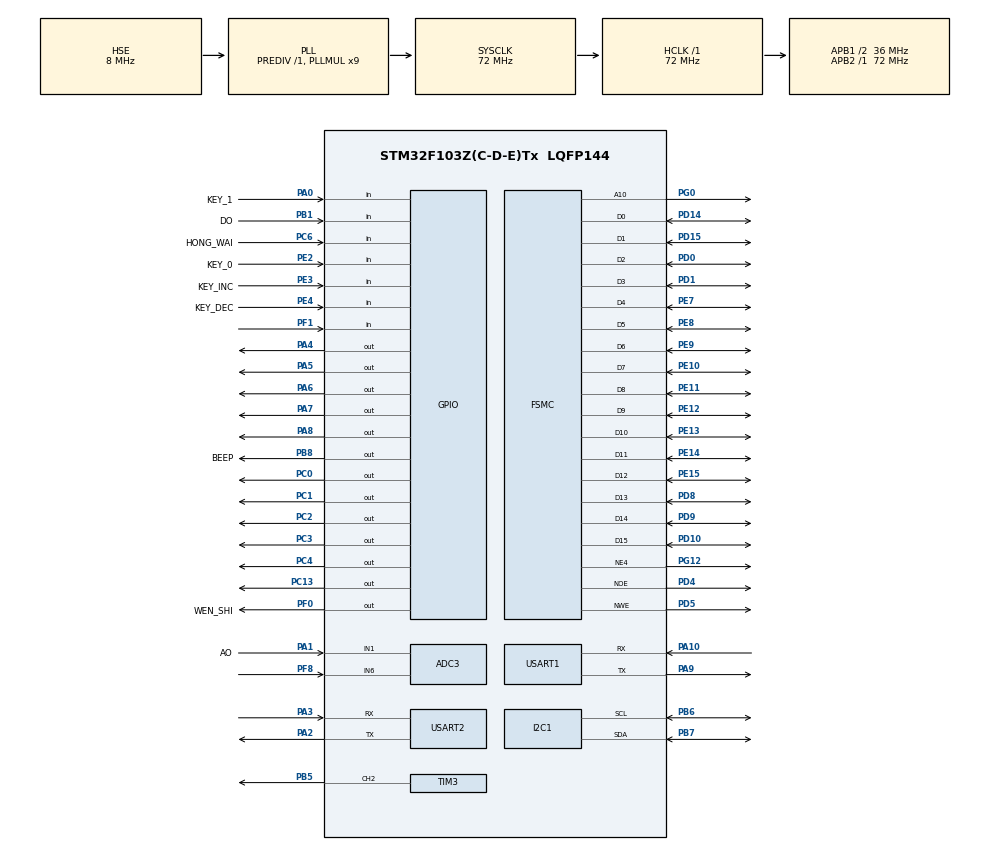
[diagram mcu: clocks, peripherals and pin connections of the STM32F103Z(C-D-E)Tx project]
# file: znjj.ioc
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ADC3.Channel-0\#ChannelRegularConversion=ADC_CHANNEL_6
ADC3.NbrOfConversionFlag=1
ADC3.Rank-0\#ChannelRegularConversion=1
ADC3.SamplingTime-0\#ChannelRegularConversion=ADC_SAMPLETIME_1CYCLE_5
FSMC.AddressSetupTime1=0x01
FSMC.BusTurnAroundDuration1=0
FSMC.DataSetupTime1=0x0f
FSMC.ExtendedAddressSetupTime1=0x0f
FSMC.ExtendedBusTurnAroundDuration1=0
FSMC.ExtendedDataSetupTime1=0x05
FSMC.ExtendedMode1=FSMC_EXTENDED_MODE_ENABLE
Mcu.Family=STM32F1
Mcu.Name=STM32F103Z(C-D-E)Tx
Mcu.Package=LQFP144
NVIC.PriorityGroup=NVIC_PRIORITYGROUP_4
NVIC.USART1_IRQn=true\:0\:0\:false\:false\:true\:true\:true
NVIC.USART2_IRQn=true\:0\:0\:false\:false\:true\:true\:true
OSC_IN.Mode=HSE-External-Oscillator
OSC_IN.Signal=RCC_OSC_IN
OSC_OUT.Mode=HSE-External-Oscillator
OSC_OUT.Signal=RCC_OSC_OUT
PA0-WKUP.GPIO_Label=KEY_1
PA0-WKUP.GPIO_PuPd=GPIO_PULLDOWN
PA0-WKUP.Signal=GPIO_Input
PA1.GPIO_Label=AO
PA1.Signal=SharedAnalog_PA1
PA10.Mode=Asynchronous
PA10.Signal=USART1_RX
PA13.Mode=Serial_Wire
PA13.Signal=SYS_JTMS-SWDIO
PA14.Mode=Serial_Wire
PA14.Signal=SYS_JTCK-SWCLK
PA2.Mode=Asynchronous
PA2.Signal=USART2_TX
PA3.Mode=Asynchronous
PA3.Signal=USART2_RX
PA4.Signal=GPIO_Output
PA5.Signal=GPIO_Output
PA6.Signal=GPIO_Output
PA7.Signal=GPIO_Output
PA8.Signal=GPIO_Output
PA9.Mode=Asynchronous
PA9.Signal=USART1_TX
PB1.GPIO_Label=DO
PB1.GPIO_PuPd=GPIO_PULLUP
PB1.Signal=GPIO_Input
PB5.Signal=S_TIM3_CH2
PB6.Mode=I2C
PB6.Signal=I2C1_SCL
PB7.Mode=I2C
PB7.Signal=I2C1_SDA
PB8.GPIO_Label=BEEP
PB8.Signal=GPIO_Output
PC0.Signal=GPIO_Output
PC1.Signal=GPIO_Output
PC13-TAMPER-RTC.PinState=GPIO_PIN_RESET
PC13-TAMPER-RTC.Signal=GPIO_Output
PC14-OSC32_IN.Mode=LSE-External-Oscillator
PC14-OSC32_IN.Signal=RCC_OSC32_IN
PC15-OSC32_OUT.Mode=LSE-External-Oscillator
PC15-OSC32_OUT.Signal=RCC_OSC32_OUT
PC2.Signal=GPIO_Output
PC3.Signal=GPIO_Output
PC4.Signal=GPIO_Output
PC6.GPIO_Label=HONG_WAI
PC6.GPIO_PuPd=GPIO_PULLUP
PC6.Signal=GPIO_Input
PD0.Signal=FSMC_D2_DA2
PD1.Signal=FSMC_D3_DA3
PD10.Signal=FSMC_D15_DA15
PD14.Signal=FSMC_D0_DA0
PD15.Signal=FSMC_D1_DA1
PD4.Signal=FSMC_NOE
PD5.Signal=FSMC_NWE
PD8.Signal=FSMC_D13_DA13
PD9.Signal=FSMC_D14_DA14
PE10.Signal=FSMC_D7_DA7
PE11.Signal=FSMC_D8_DA8
PE12.Signal=FSMC_D9_DA9
PE13.Signal=FSMC_D10_DA10
PE14.Signal=FSMC_D11_DA11
PE15.Signal=FSMC_D12_DA12
PE2.GPIO_Label=KEY_0
PE2.GPIO_PuPd=GPIO_PULLUP
PE2.Signal=GPIO_Input
PE3.GPIO_Label=KEY_INC
PE3.GPIO_PuPd=GPIO_PULLUP
PE3.Signal=GPIO_Input
PE4.GPIO_Label=KEY_DEC
PE4.GPIO_PuPd=GPIO_PULLUP
PE4.Signal=GPIO_Input
PE7.Signal=FSMC_D4_DA4
PE8.Signal=FSMC_D5_DA5
PE9.Signal=FSMC_D6_DA6
PF0.GPIO_Label=WEN_SHI
PF0.Signal=GPIO_Output
PF1.Signal=GPIO_Input
PF8.Mode=IN6
PF8.Signal=ADC3_IN6
PG0.Signal=FSMC_A10
PG12.Mode=NorPsramChipSelect4_1
PG12.Signal=FSMC_NE4
ProjectManager.HeapSize=0x200
ProjectManager.StackSize=0x400
ProjectManager.TargetToolchain=MDK-ARM V5
RCC.ADCPresc=RCC_ADCPCLK2_DIV6
RCC.AHBFreq_Value=72000000
RCC.APB1CLKDivider=RCC_HCLK_DIV2
RCC.APB1Freq_Value=36000000
RCC.APB1TimFreq_Value=72000000
RCC.APB2Freq_Value=72000000
RCC.APB2TimFreq_Value=72000000
RCC.HCLKFreq_Value=72000000
RCC.PLLMUL=RCC_PLL_MUL9
RCC.PLLSourceVirtual=RCC_PLLSOURCE_HSE
RCC.RTCClockSelection=RCC_RTCCLKSOURCE_LSE
RCC.SYSCLKFreq_VALUE=72000000
RCC.SYSCLKSource=RCC_SYSCLKSOURCE_PLLCLK
RCC.USBFreq_Value=72000000
SH.FSMC_A10.0=FSMC_A10,A10_1
SH.FSMC_D0_DA0.0=FSMC_D0,16b-d1
SH.FSMC_D10_DA10.0=FSMC_D10,16b-d1
SH.FSMC_D11_DA11.0=FSMC_D11,16b-d1
SH.FSMC_D12_DA12.0=FSMC_D12,16b-d1
SH.FSMC_D13_DA13.0=FSMC_D13,16b-d1
SH.FSMC_D14_DA14.0=FSMC_D14,16b-d1
SH.FSMC_D15_DA15.0=FSMC_D15,16b-d1
SH.FSMC_D1_DA1.0=FSMC_D1,16b-d1
SH.FSMC_D2_DA2.0=FSMC_D2,16b-d1
SH.FSMC_D3_DA3.0=FSMC_D3,16b-d1
SH.FSMC_D4_DA4.0=FSMC_D4,16b-d1
SH.FSMC_D5_DA5.0=FSMC_D5,16b-d1
SH.FSMC_D6_DA6.0=FSMC_D6,16b-d1
SH.FSMC_D7_DA7.0=FSMC_D7,16b-d1
SH.FSMC_D8_DA8.0=FSMC_D8,16b-d1
SH.FSMC_D9_DA9.0=FSMC_D9,16b-d1
SH.FSMC_NOE.0=FSMC_NOE,Lcd1
SH.FSMC_NWE.0=FSMC_NWE,Lcd1
SH.S_TIM3_CH2.0=TIM3_CH2,PWM Generation2 CH2
SH.SharedAnalog_PA1.0=GPIO_Analog
SH.SharedAnalog_PA1.1=ADC3_IN1,IN1
TIM3.Channel-PWM\ Generation2\ CH2=TIM_CHANNEL_2
TIM3.Period=1000-1
TIM3.Prescaler=72-1
TIM5.Period=65535
TIM5.Prescaler=72
USART1.VirtualMode=VM_ASYNC
USART2.VirtualMode=VM_ASYNC
VP_RTC_VS_RTC_Activate.Mode=RTC_Enabled
VP_RTC_VS_RTC_Calendar.Mode=RTC_Calendar
VP_TIM3_VS_ClockSourceINT.Mode=Internal
VP_TIM5_VS_ClockSourceINT.Mode=Internal
board=custom

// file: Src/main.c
/* USER CODE BEGIN Header */
/**
  ******************************************************************************
  * @file           : main.c
  * @brief          : Main program body
  ******************************************************************************
  * @attention
  *
  * <h2><center>&copy; Copyright (c) 2025 STMicroelectronics.
  * All rights reserved.</center></h2>
  *
  * This software component is licensed by ST under BSD 3-Clause license,
  * the "License"; You may not use this file except in compliance with the
  * License. You may obtain a copy of the License at:
  *                        opensource.org/licenses/BSD-3-Clause
  *
  ******************************************************************************
  */
/* USER CODE END Header */

#include "main.h"
#include "adc.h"
#include "i2c.h"
#include "rtc.h"
#include "tim.h"
#include "usart.h"
#include "gpio.h"
#include "fsmc.h"

/* USER CODE BEGIN Includes */
#include <stdio.h>
#include "tftlcd.h"
#include <string.h>
#include "OLED_Function.h"
#include "DHT11.h"
#include "step_motor.h"
#include "My_esp8266.h"
/**
  * @brief  重定向printf函数到串口1
  * @param  ch: 要发送的字符
  * @param  f: 文件指针（未使用）
  * @retval 发送的字符
  */
int fputc(int ch, FILE *f)
{
    HAL_UART_Transmit(&huart1, (uint8_t *)&ch, 1, 0xFFFF);
    return ch;
}

/* USER CODE END Includes */

/* USER CODE BEGIN PD */

// 密码相关定义
#define PASSWORD_LEN 4                 // 密码长度：4位二进制
#define CORRECT_PASSWORD 0x0A          // 正确密码：二进制1010（十六进制0x0A）

// 按键定义 - 根据CubeMX配置
#define KEY_NEXT_PIN      GPIO_PIN_3    // PE3 (KEY_INC) - 选择下一个灯
#define KEY_PREV_PIN      GPIO_PIN_2    // PE2 (KEY_0) - 选择上一个灯
#define KEY_TOGGLE_PIN    GPIO_PIN_4    // PE4 (KEY_DEC) - 开关灯
#define KEY_UP_PIN        GPIO_PIN_0    // PA0 (KEY_UP) - 输入1
#define KEY_CANCEL_PIN    GPIO_PIN_2// PE2 (KEY_0) - 输入0/取消
#define KEY_MODE_PIN      GPIO_PIN_1    // PF1 - 模式切换
#define LIGHT_COUNT 4                  // 灯光数量

// 火焰传感器定义
#define FLAME_SENSOR_PIN      GPIO_PIN_1     // PA1 - 火焰传感器引脚（高电平表示有火焰）
#define FLAME_SENSOR_PORT     GPIOA
#define FLAME_ALARM_PIN       GPIO_PIN_8     // 报警引脚：PB8
#define FLAME_CHECK_INTERVAL  100            // 火焰检查间隔：100ms

// 加湿器控制阈值
#define HUMIDITY_HIGH_THRESHOLD  60   // 高湿度阈值(60%) - 关闭加湿器
#define HUMIDITY_OFF_THRESHOLD   55   // 关闭阈值(55-60%之间停止)

// 湿度控制等级(4个等级)
#define HUMIDITY_LEVEL_0         55   // 等级0: 55-60% (保持当前状态)
#define HUMIDITY_LEVEL_1         50   // 等级1: 50-55% (低速加湿)
#define HUMIDITY_LEVEL_2         40   // 等级2: 40-50% (中速加湿)
#define HUMIDITY_LEVEL_3         30   // 等级3: <40% (高速加湿)

// 步进电机速度等级(延迟时间，单位ms)
#define MOTOR_SPEED_LEVEL_0      0     // 停止
#define MOTOR_SPEED_LEVEL_1      300   // 低速 (50-55%)
#define MOTOR_SPEED_LEVEL_2      150   // 中速 (40-50%)
#define MOTOR_SPEED_LEVEL_3      80    // 高速 (<40%)

// 步进电机速度定义(ms延迟)
#define STEPPER_SPEED_OFF        0     // 停止
#define STEPPER_SPEED_LOW        300   // 低速
#define STEPPER_SPEED_MEDIUM     150   // 中速
#define STEPPER_SPEED_HIGH       80    // 高速

// 加湿器状态
#define HUMIDIFIER_STATE_OFF     0      // 加湿器关闭
#define HUMIDIFIER_STATE_ON      1      // 加湿器开启

/* USER CODE END PD */

/* USER CODE BEGIN PV */
#define RXBUFFERSIZE  256     //最大接收字节数
char RxBuffer[RXBUFFERSIZE];   //接收数据
uint8_t aRxBuffer;			//接收中断缓冲
uint8_t Uart2_Rx_Cnt = 0;		//接收缓冲计数
uint8_t my_test_v = 0 ;
char my_order[15]={0};
char receive_flag=0;

// 系统模式枚举
typedef enum {
    MODE_TEMP_HUMIDITY = 0,  // 温湿度显示模式
    MODE_PASSWORD = 1,       // 密码输入模式
    MODE_LIGHT_CONTROL = 2   // 灯光控制模式
} SystemMode;

static SystemMode current_mode = MODE_TEMP_HUMIDITY; // 当前模式

// 密码相关变量
static uint8_t input_buffer[PASSWORD_LEN] = {0};  // 输入缓冲区
static uint8_t input_index = 0;                   // 输入位索引
static uint8_t error_count = 0;                   // 错误次数

// 报警相关变量
static uint8_t alarm_active = 0;                  // 报警激活标志
static uint32_t alarm_start_time = 0;             // 报警开始时间
const uint32_t ALARM_DURATION = 2000;             // 报警持续时间：2秒

// DHT11相关变量
static DHT11_Data_TypeDef dht11_data = {0};       // DHT11数据
static uint32_t last_dht11_time = 0;              // 上次DHT11读取时间
const uint32_t DHT11_UPDATE_INTERVAL = 2000;      // DHT11更新间隔：2秒

// 灯光控制相关变量
// 灯光名称
const char* light_names[LIGHT_COUNT] = {
    "Toilet",    // PA2 - 厕所
    "Bedroom",   // PA4 - 卧室
    "Kitchen",   // PA5 - 厨房
    "Study"      // PA6 - 书房
};

// 灯光引脚
const uint16_t light_pins[LIGHT_COUNT] = {
    GPIO_PIN_7,  // PA7 - 厕所
    GPIO_PIN_4,  // PA4 - 卧室
    GPIO_PIN_5,  // PA5 - 厨房
    GPIO_PIN_6   // PA6 - 书房
};

// 灯光状态，0:关，1:开
static uint8_t light_states[LIGHT_COUNT] = {0};
// 当前选中的灯光索引（用于灯光控制模式）
static uint8_t current_light_index = 0;  // 默认选中第一个灯

// LCD显示缓存（用于检测显示是否需要更新）
static uint8_t last_light_states[LIGHT_COUNT] = {0xFF};  // 初始化为无效值
static uint8_t last_light_index = 0xFF;
static char last_temp_display[30] = "";
static char last_humi_display[30] = "";

// 火焰传感器相关变量
static uint8_t flame_detected = 0;                 // 火焰检测标志 0:无，1:有
static uint32_t flame_last_check_time = 0;         // 上次火焰检查时间
static char last_flame_display[60] = "";          // 上次火焰信息显示

// 加湿器控制相关变量
static uint8_t humidifier_state = HUMIDIFIER_STATE_OFF;     // 加湿器状态
static uint8_t last_humidifier_state = HUMIDIFIER_STATE_OFF;// 上次加湿器状态
static uint8_t humidity_level = 0;                         // 当前湿度等级(0-3)
static uint8_t last_humidity_level = 0xFF;                 // 上次湿度等级
static uint8_t motor_direction = 0;                        // 电机方向：0=正转(开启)，1=反转(关闭)
static uint32_t humidifier_last_update = 0;                // 上次湿度控制更新时间
static char last_humidifier_display[80] = "";              // 上次加湿器显示

// 步进电机控制变量
static uint8_t motor_running = 0;                      // 电机运行标志:0=停止，1=运行
static uint32_t motor_last_step_time = 0;              // 上次步进时间
static uint32_t motor_current_delay = STEPPER_SPEED_OFF; // 当前步进延迟(ms)
static uint32_t motor_run_interval = 0;                // 电机运行间隔
static uint8_t motor_is_opening = 0;                   // 正在开启加湿器标志
static uint8_t motor_is_closing = 0;                   // 正在关闭加湿器标志
static uint32_t motor_target_steps = 0;                // 目标步数
static uint32_t motor_current_steps = 0;               // 当前已走步数

// 按键防抖相关变量
static uint32_t pf1_last_time = 0;
static uint32_t key_prev_last_time = 0;
static uint32_t key_next_last_time = 0;
static uint32_t key_toggle_last_time = 0;
static uint32_t key_up_last_time = 0;

// KEY2长按检测相关变量
static uint32_t key_cancel_press_start = 0;
static uint8_t key_cancel_long_press_handled = 0;

// 系统就绪标志
static uint8_t system_ready = 0;

/* USER CODE END PV */

void SystemClock_Config(void);
/* USER CODE BEGIN PFP */

// 显示函数
void show_temperature_humidity_mode(void);
void show_password_mode(void);
void show_light_control_mode(void);
void update_password_display(void);
void update_lcd_temperature_display(uint16_t x, uint16_t y);
void update_lcd_humidity_display(uint16_t x, uint16_t y);
void update_light_control_display(void);
void update_selected_light_display(void);
void update_light_status_display(uint8_t index);
void update_arrow_indicator(void);
uint8_t read_dht11_data(void);
void toggle_current_light(void);
void set_light_state(uint8_t index, uint8_t state);
void select_next_light(void);
void select_prev_light(void);
void switch_mode(void);
uint8_t is_key_pressed(GPIO_TypeDef* GPIOx, uint16_t GPIO_Pin, uint8_t active_level);

// 火焰传感器功能函数
void check_flame_sensor(void);
void update_flame_info(void);
void trigger_flame_alarm(void);
void stop_flame_alarm(void);

// 湿度控制功能函数
void init_humidity_control(void);
void update_humidity_control(void);
void control_humidifier_by_humidity(void);
uint8_t calculate_humidity_level(int16_t humidity_int, int16_t humidity_dec);
void set_humidifier_state(uint8_t state);
void start_humidifier_opening(void);
void start_humidifier_closing(void);
void run_stepper_motor_by_humidity(void);
void update_humidifier_display(void);
void display_humidity_control_info(uint16_t x, uint16_t y);
uint32_t get_motor_delay_by_level(uint8_t level);

/* USER CODE END PFP */

/* USER CODE BEGIN 0 */

/**
  * @brief  检查火焰传感器状态
  * @note   读取PA1引脚状态，检测到火焰时触发报警
  */
void check_flame_sensor(void)
{
    uint32_t current_time = HAL_GetTick();

    // 定时检查，避免频繁读取
    if (current_time - flame_last_check_time < FLAME_CHECK_INTERVAL) {
        return;
    }
    flame_last_check_time = current_time;

    // 读取火焰传感器状态 - 高电平表示有火焰
    uint8_t flame_state = HAL_GPIO_ReadPin(FLAME_SENSOR_PORT, FLAME_SENSOR_PIN);

    // 保存之前的检测状态，用于LCD更新检测
    uint8_t previous_detection = flame_detected;

    // 逻辑判断：高电平表示检测到火焰（参考您提供的简单main文件）
    if (flame_state == GPIO_PIN_SET) { // 高电平 = 检测到火焰
        if (!flame_detected) {
            printf("检测到火焰! (PA1=高电平)\r\n");
            trigger_flame_alarm();  // 触发报警
        }
        flame_detected = 1;
    } else {
        if (flame_detected) {
            printf("火焰消失 (PA1=低电平)\r\n");
        }
        flame_detected = 0;
    }

    // 更新LCD显示（仅当模式为温湿度显示模式且有状态变化时）
    if (current_mode == MODE_TEMP_HUMIDITY && previous_detection != flame_detected) {
        update_flame_info();
    }
}

/**
  * @brief  触发火焰报警
  * @note   激活PB8报警引脚
  */
void trigger_flame_alarm(void)
{
    // 设置PB8为高电平（蜂鸣器/LED）
    HAL_GPIO_WritePin(GPIOB, FLAME_ALARM_PIN, GPIO_PIN_SET);

    printf("火焰报警激活! (PB8=高电平)\r\n");

    // 更新LCD显示
    if (current_mode == MODE_TEMP_HUMIDITY) {
        update_flame_info();
    }
}

/**
  * @brief  停止火焰报警
  * @note   关闭PB8报警引脚
  */
void stop_flame_alarm(void)
{
    // 设置PB8为低电平
    HAL_GPIO_WritePin(GPIOB, FLAME_ALARM_PIN, GPIO_PIN_RESET);

    printf("火焰报警关闭 (PB8=低电平)\r\n");

    // 更新LCD显示
    if (current_mode == MODE_TEMP_HUMIDITY) {
        update_flame_info();
    }
}

/**
  * @brief  更新火焰传感器信息显示（到LCD）
  * @note   在LCD底部显示火焰检测状态和报警信息
  */
void update_flame_info(void)
{
    char info_str[80];

    if (flame_detected) {
        snprintf(info_str, sizeof(info_str), "火焰警报! 传感器: PA1=高电平  报警: PB8=高电平");
    } else {
        snprintf(info_str, sizeof(info_str), "无火焰  传感器: PA1=低电平  报警: PB8=低电平");
    }

    // 如果显示内容与上次不同，则更新显示（避免频繁刷新）
    if (strcmp(info_str, last_flame_display) != 0) {
        // 先清空显示区域
        LCD_ShowString(10, 280, tftlcd_data.width, tftlcd_data.height, 12, (u8*)"                                                                        ");
        // 显示新内容
        LCD_ShowString(10, 280, tftlcd_data.width, tftlcd_data.height, 12, (u8*)info_str);
        strcpy(last_flame_display, info_str);
        printf("火焰信息更新: %s\r\n", info_str);
    }
}

// 湿度控制相关函数

/**
  * @brief  初始化湿度控制系统
  * @note   配置步进电机引脚，初始化相关变量
  */
void init_humidity_control(void)
{
    // 步进电机引脚已在CubeMX中配置
    // PC0-PC3 连接步进电机驱动

    // 初始化加湿器状态
    humidifier_state = HUMIDIFIER_STATE_OFF;
    last_humidifier_state = HUMIDIFIER_STATE_OFF;
    humidity_level = 0;
    last_humidity_level = 0xFF;
    motor_direction = 0;

    // 停止步进电机
    Step_Motor_Stop();
    motor_running = 0;
    motor_is_opening = 0;
    motor_is_closing = 0;
    motor_current_delay = STEPPER_SPEED_OFF;

    printf("Humidity Control System Initialized\r\n");
    printf("Humidity Control Range:\r\n");
    printf("  - >%d%%: Humidifier OFF\r\n", HUMIDITY_OFF_THRESHOLD);
    printf("  - %d-%d%%: Level 0 (Keep current)\r\n", HUMIDITY_LEVEL_0, HUMIDITY_OFF_THRESHOLD);
    printf("  - %d-%d%%: Level 1 (Low speed, Delay: %dms)\r\n",
           HUMIDITY_LEVEL_1, HUMIDITY_LEVEL_0, STEPPER_SPEED_LOW);
    printf("  - %d-%d%%: Level 2 (Medium speed, Delay: %dms)\r\n",
           HUMIDITY_LEVEL_2, HUMIDITY_LEVEL_1, STEPPER_SPEED_MEDIUM);
    printf("  - <%d%%: Level 3 (High speed, Delay: %dms)\r\n",
           HUMIDITY_LEVEL_3, STEPPER_SPEED_HIGH);
}

/**
  * @brief  计算湿度等级
  * @param  humidity_int: 湿度整数部分
  * @param  humidity_dec: 湿度小数部分
  * @retval 湿度等级 (0-3)
  */
uint8_t calculate_humidity_level(int16_t humidity_int, int16_t humidity_dec)
{
    float humidity = (float)humidity_int + (float)humidity_dec / 10.0;

    if (humidity >= HUMIDITY_OFF_THRESHOLD) {
        return 0;  // 55-60%之间，停止加湿
    } else if (humidity >= HUMIDITY_LEVEL_1) {
        return 1;  // 50-55%，等级1
    } else if (humidity >= HUMIDITY_LEVEL_2) {
        return 2;  // 40-50%，等级2
    } else {
        return 3;  // <40%，等级3
    }
}

/**
  * @brief  根据湿度等级获取电机延迟时间
  * @param  level: 湿度等级 (0-3)
  * @retval 电机步进延迟时间(ms)
  */
uint32_t get_motor_delay_by_level(uint8_t level)
{
    switch (level) {
        case 1:
            return STEPPER_SPEED_LOW;    // 低速
        case 2:
            return STEPPER_SPEED_MEDIUM; // 中速
        case 3:
            return STEPPER_SPEED_HIGH;   // 高速
        case 0:
        default:
            return STEPPER_SPEED_OFF;    // 停止
    }
}

/**
  * @brief  设置加湿器状态
  * @param  state: 状态 (HUMIDIFIER_STATE_ON/OFF)
  */
void set_humidifier_state(uint8_t state)
{
    if (state != humidifier_state) {
        humidifier_state = state;

        if (state == HUMIDIFIER_STATE_ON) {
            printf("Humidifier: Turning ON (Level: %d)\r\n", humidity_level);
            start_humidifier_opening();
        } else {
            printf("Humidifier: Turning OFF\r\n");
            start_humidifier_closing();
        }

        last_humidifier_state = humidifier_state;
    }
}

/**
  * @brief  开始开启加湿器
  * @note   控制步进电机正转，模拟开启加湿器
  */
void start_humidifier_opening(void)
{
    if (!motor_is_opening && !motor_is_closing) {
        motor_is_opening = 1;
        motor_is_closing = 0;
        motor_direction = 0;  // 正转
        motor_running = 1;
        motor_last_step_time = HAL_GetTick();
        motor_current_steps = 0;
        motor_target_steps = 100;  // 目标步数，可根据实际调整

        // 根据湿度等级设置延迟
        motor_current_delay = get_motor_delay_by_level(humidity_level);

       printf("Starting humidifier opening: Level=%d, Delay=%dms, Steps=%d\r\n",
               humidity_level, motor_current_delay, motor_target_steps);
    }
}

/**
  * @brief  开始关闭加湿器
  * @note   控制步进电机反转，模拟关闭加湿器
  */
void start_humidifier_closing(void)
{
    if (!motor_is_opening && !motor_is_closing) {
        motor_is_opening = 0;
        motor_is_closing = 1;
        motor_direction = 1;  // 反转
        motor_running = 1;
        motor_last_step_time = HAL_GetTick();
        motor_current_steps = 0;
        motor_target_steps = 100;  // 目标步数，可根据实际调整

        // 关闭时使用中速
        motor_current_delay = STEPPER_SPEED_MEDIUM;

        printf("Starting humidifier closing: Delay=%dms, Steps=%d\r\n",
               motor_current_delay, motor_target_steps);
    }
}

/**
  * @brief  根据湿度控制步进电机运行
  * @note   定时控制电机步进，直到达到目标步数
  */
void run_stepper_motor_by_humidity(void)
{
    if (!motor_running || motor_current_delay == STEPPER_SPEED_OFF) {
        return;
    }

    uint32_t current_time = HAL_GetTick();

    // 检查是否达到步进时间
    if (current_time - motor_last_step_time >= motor_current_delay) {
        motor_last_step_time = current_time;

        // 根据方向步进
        if (motor_direction == 0) {
            // 正转（开启加湿器）
            Step_Motor_CW(1);
        } else {
            // 反转（关闭加湿器）
            Step_Motor_CCW(1);
        }

        motor_current_steps++;
        motor_run_interval++;

        // 检查是否达到目标步数
        if (motor_current_steps >= motor_target_steps) {
            // 完成动作
            if (motor_is_opening) {
                motor_is_opening = 0;
                printf("Humidifier opened successfully. Steps: %d\r\n", motor_current_steps);
            } else if (motor_is_closing) {
                motor_is_closing = 0;
                printf("Humidifier closed successfully. Steps: %d\r\n", motor_current_steps);
            }

            motor_running = 0;
            Step_Motor_Stop();
        }

        // 每10步暂停一下，防止过热
        if (motor_run_interval >= 10) {
            motor_run_interval = 0;
            Step_Motor_Stop();
            HAL_Delay(10);
        }
    }
}

/**
  * @brief  根据湿度控制加湿器
  * @note   定时读取湿度，根据湿度等级控制加湿器开关
  */
void control_humidifier_by_humidity(void)
{
    uint32_t current_time = HAL_GetTick();

    // 每2秒检查一次湿度
    if (current_time - humidifier_last_update < 2000) {
        return;
    }

    humidifier_last_update = current_time;

    // 检查DHT11数据是否有效
    if (dht11_data.humi_int == 0 && dht11_data.humi_dec == 0) {
        // 数据无效，不处理
        return;
    }

    // 计算当前湿度
    float current_humidity = (float)dht11_data.humi_int + (float)dht11_data.humi_dec / 10.0;

    // 计算新的湿度等级
    uint8_t new_level = calculate_humidity_level(dht11_data.humi_int, dht11_data.humi_dec);

    // 如果湿度等级发生变化
    if (new_level != last_humidity_level) {
        printf("Humidity Level Changed: %d -> %d (Humidity: %.1f%%)\r\n",
               last_humidity_level, new_level, current_humidity);

        last_humidity_level = new_level;
        humidity_level = new_level;

        // 根据湿度等级控制加湿器
        if (current_humidity < HUMIDITY_HIGH_THRESHOLD) {
            // 湿度低于60%，考虑加湿
            if (new_level > 0) {  // 等级1-3
                set_humidifier_state(HUMIDIFIER_STATE_ON);
            } else {
                // 等级0，停止加湿
                set_humidifier_state(HUMIDIFIER_STATE_OFF);
            }
        } else {
            // 湿度高于60%，停止加湿
            set_humidifier_state(HUMIDIFIER_STATE_OFF);
        }
    }

    // 如果电机正在运行，根据湿度等级调整速度
    if (motor_running && motor_is_opening) {
        uint32_t new_delay = get_motor_delay_by_level(humidity_level);
        if (new_delay != motor_current_delay) {
            motor_current_delay = new_delay;
           printf("Motor speed adjusted: %dms\r\n", motor_current_delay);
        }
    }

    // 更新LCD显示
    if (current_mode == MODE_TEMP_HUMIDITY) {
        update_humidifier_display();
    }
}

/**
  * @brief  更新加湿器显示信息（到LCD）
  * @note   在LCD底部显示加湿器状态和湿度信息
  */
void update_humidifier_display(void)
{
    char info_str[80];
    const char* state_str;
    const char* level_str;

    // 状态字符串
    if (humidifier_state == HUMIDIFIER_STATE_ON) {
       if (motor_is_opening) {
            state_str = "OPENING";
        } else if (motor_is_closing) {
            state_str = "CLOSING";
        } else {
            state_str = "ON";
        }
    } else {
        state_str = "OFF";
    }

    // 等级字符串
    switch (humidity_level) {
         case 0:
            level_str = "Standby";
            break;
        case 1:
            level_str = "Level 1 (Low)";
            break;
        case 2:
            level_str = "Level 2 (Medium)";
            break;
        case 3:
            level_str = "Level 3 (High)";
            break;
        default:
            level_str = "Unknown";
            break;
    }

    // 格式化显示字符串
    if (dht11_data.humi_int == 0 && dht11_data.humi_dec == 0) {
        snprintf(info_str, sizeof(info_str), "Humidifier: %s  (Humi: --.-%%)", state_str);
    } else {
        snprintf(info_str, sizeof(info_str), "Humidifier: %s  Level: %s  (Humi: %d.%d%%)",
                 state_str, level_str, dht11_data.humi_int, dht11_data.humi_dec);
    }

    // 如果显示内容与上次不同，则更新显示
    if (strcmp(info_str, last_humidifier_display) != 0) {
        // 先清空显示区域
        LCD_ShowString(10, 300, tftlcd_data.width, tftlcd_data.height, 12, (u8*)"                                                                        ");
        // 显示新内容
        LCD_ShowString(10, 300, tftlcd_data.width, tftlcd_data.height, 12, (u8*)info_str);
        strcpy(last_humidifier_display, info_str);

         printf("Humidifier Display Updated: %s\r\n", info_str);
    }
}

// 显示模式相关函数

/**
  * @brief  显示温湿度模式界面
  * @note   清屏并显示温湿度监测界面
  */
void show_temperature_humidity_mode(void)
{
    LCD_Clear(WHITE);

    // 标题
    LCD_ShowString(10, 10, tftlcd_data.width, tftlcd_data.height, 24, (u8*)"Smart Home Monitor");

    // 温度标签
   LCD_ShowString(10, 60, 150, 20, 16, (u8*)"Temperature:");

    LCD_ShowString(10, 100, 150, 20, 16, (u8*)"Humidity:");

    // 操作提示
		LCD_ShowString(10, 220, tftlcd_data.width, tftlcd_data.height, 16, (u8*)"PF1: Switch Mode");
    LCD_ShowString(10, 240, tftlcd_data.width, tftlcd_data.height, 16, (u8*)"Current: Temp/Humi");

    // 清空显示缓存 强制后续的更新函数重新显示所有内容（因为缓存为空，与新内容肯定不同）
    strcpy(last_temp_display, "");
    strcpy(last_humi_display, "");
    strcpy(last_flame_display, "");
    strcpy(last_humidifier_display, "");

    // 更新温湿度显示
    update_lcd_temperature_display(10, 80);
    update_lcd_humidity_display(10, 120);

    // 更新火焰传感器信息
    update_flame_info();

    // 更新加湿器信息
    update_humidifier_display();
}

/**
  * @brief  显示密码模式界面
  * @note   清屏并显示密码输入界面
  */
void show_password_mode(void)
{
    // 清屏
    LCD_Clear(WHITE);

    // 标题
		LCD_ShowString(10, 30, tftlcd_data.width, tftlcd_data.height, 24, (u8*)"Password Mode");

    // 提示文字
    LCD_ShowString(10, 80, tftlcd_data.width, tftlcd_data.height, 16, (u8*)"Enter 4-bit password:");

    // 密码显示区（初始为下划线）
    LCD_ShowString(10, 110, 150, 20, 24, (u8*)"____");

    // 位计数器
    LCD_ShowString(10, 140, tftlcd_data.width, tftlcd_data.height, 16, (u8*)"Bit:0/4");

    LCD_ShowString(10, 170, tftlcd_data.width, tftlcd_data.height, 16, (u8*)"KEY_UP(PA0): Input 1");
    LCD_ShowString(10, 190, tftlcd_data.width, tftlcd_data.height, 16, (u8*)"KEY_0(PE2): Input 0");
    LCD_ShowString(10, 210, tftlcd_data.width, tftlcd_data.height, 16, (u8*)"Hold KEY_0 >1s: Cancel");
    LCD_ShowString(10, 230, tftlcd_data.width, tftlcd_data.height, 16, (u8*)"PF1: Switch Mode");
}

/**
  * @brief  显示灯光控制模式界面
  * @note   清屏并显示灯光控制界面
  */
void show_light_control_mode(void)
{
    // 清屏
    LCD_Clear(WHITE);

    // 标题
    LCD_ShowString(10, 30, tftlcd_data.width, tftlcd_data.height, 24, (u8*)"Light Control Mode");

    // 所有灯光状态标题
    LCD_ShowString(10, 60, tftlcd_data.width, tftlcd_data.height, 16, (u8*)"All Lights Status:");

    // 灯光名称行
    char light_line[50];
    snprintf(light_line, sizeof(light_line), "%-8s %-8s %-8s %-8s ",
             light_names[0], light_names[1], light_names[2],
             light_names[3]);
    LCD_ShowString(10, 80, tftlcd_data.width, tftlcd_data.height, 16, (u8*)light_line);

    // 灯光状态行（预留位置）
    LCD_ShowString(10, 100, tftlcd_data.width, tftlcd_data.height, 16, (u8*)"                                                 ");

    // 箭头指示行（预留位置）
    LCD_ShowString(10, 120, tftlcd_data.width, tftlcd_data.height, 16, (u8*)"                                                 ");

    // 选中灯光信息
    LCD_ShowString(10, 140, tftlcd_data.width, tftlcd_data.height, 16, (u8*)"Selected:          ");
    LCD_ShowString(10, 160, tftlcd_data.width, tftlcd_data.height, 16, (u8*)"Status:            ");

    // 按键说明 - 根据CubeMX配置
    LCD_ShowString(10, 180, tftlcd_data.width, tftlcd_data.height, 16, (u8*)"KEY_0(PE2): Select Prev");
    LCD_ShowString(10, 200, tftlcd_data.width, tftlcd_data.height, 16, (u8*)"KEY_INC(PE3): Select Next");
    LCD_ShowString(10, 220, tftlcd_data.width, tftlcd_data.height, 16, (u8*)"KEY_DEC(PE4): Toggle Light");
    LCD_ShowString(10, 240, tftlcd_data.width, tftlcd_data.height, 16, (u8*)"PF1: Switch Mode");

    // 注意：初始化显示缓存为无效值，确保第一次更新会显示
    for (int i = 0; i < LIGHT_COUNT; i++) {
        last_light_states[i] = 0xFF;  // 设置为无效值，确保更新
    }
    last_light_index = 0xFF;  // 设置为无效值

    // 更新所有灯光状态显示
    for (int i = 0; i < LIGHT_COUNT; i++) {
        update_light_status_display(i);
    }

    // 默认选中第一个灯（厕所）
    current_light_index = 0;

    // 更新选中灯光显示
    update_selected_light_display();
    update_arrow_indicator();

   printf("Light Control Mode Initialized - Default: Toilet selected\r\n");
}

/**
  * @brief  更新选中灯光显示
  * @note   显示当前选中灯光的名称和状态
  */
void update_selected_light_display(void)
{
    static char last_status_str[40] = "";
    static char last_control_str[40] = "";

    char status_str[40];
    char control_str[40];

    // 格式化显示字符串
   sprintf(status_str, "Selected: %s", light_names[current_light_index]);
    sprintf(control_str, "Status: %s", light_states[current_light_index] ? "ON" : "OFF");

    // 如果内容发生变化，则更新显示
    if (strcmp(status_str, last_status_str) != 0) {
        // 先清空区域
        LCD_ShowString(10, 140, tftlcd_data.width, tftlcd_data.height, 16, (u8*)"                ");
        // 显示新内容
        LCD_ShowString(10, 140, tftlcd_data.width, tftlcd_data.height, 16, (u8*)status_str);
        strcpy(last_status_str, status_str);
    }

    if (strcmp(control_str, last_control_str) != 0) {
        // 先清空区域
        LCD_ShowString(10, 160, tftlcd_data.width, tftlcd_data.height, 16, (u8*)"                ");
        // 显示新内容
        LCD_ShowString(10, 160, tftlcd_data.width, tftlcd_data.height, 16, (u8*)control_str);
        strcpy(last_control_str, control_str);
    }
}

/**
  * @brief  更新灯光状态显示
  * @param  index: 灯光索引 (0-4)
  */
void update_light_status_display(uint8_t index)
{
    if (index >= LIGHT_COUNT) return;

    // 读取GPIO状态
    uint8_t current_state = (HAL_GPIO_ReadPin(GPIOA, light_pins[index]) == GPIO_PIN_RESET) ? 1 : 0;

    // 如果状态没有变化，不更新显示
    if (last_light_states[index] == current_state) {
        return;
    }

    // 更新缓存
    last_light_states[index] = current_state;

    // 计算显示位置
    // 每个灯占用8个字符宽度，大约72像素
    uint16_t x_pos = 10 + index * 72;  // 72像素间隔

    // 格式化状态字符串
    char state_str[8];
    snprintf(state_str, sizeof(state_str), "%-8s", current_state ? "ON" : "OFF");

    // 显示状态
    LCD_ShowString(x_pos, 100, 64, 16, 16, (u8*)state_str);

     printf("Light %s status updated to %s\r\n", light_names[index], state_str);
}
/**
  * @brief  更新箭头指示器
  * @note   在选中的灯光下方显示箭头
  */
void update_arrow_indicator(void)
{
    // 如果选中的灯没有变化，不更新
    if (last_light_index == current_light_index) {
        return;
    }

    // 更新缓存
    last_light_index = current_light_index;

    // 计算显示位置
    // 每个灯占用8个字符宽度，大约72像素
    uint16_t x_pos = 10 + current_light_index * 72;  // 72像素间隔

    // 清空箭头行
    LCD_ShowString(10, 120, tftlcd_data.width, tftlcd_data.height, 16, (u8*)"                                                 ");

    // 显示箭头
    LCD_ShowString(x_pos, 120, 16, 16, 16, (u8*)"^");

   printf("Arrow moved to position %d\r\n", current_light_index);
}

/**
  * @brief  更新密码显示
  * @note   根据输入更新密码显示区
  */
void update_password_display(void)
{
    char password_display[5] = "____"; // 4位密码加结束符

    // 将输入缓冲区的值转换为字符
    for (int i = 0; i < input_index; i++) {
        if (input_buffer[i] == 1) {
            password_display[i] = '1';
        } else {
            password_display[i] = '0';
        }
    }

    // 先清空区域
    LCD_ShowString(10, 110, 100, 30, 24, (u8*)"    ");
    // 显示密码
    LCD_ShowString(10, 110, 100, 30, 24, (u8*)password_display);

    // 更新位计数器
    static char last_bit_str[16] = "";
    char bit_str[16];
    sprintf(bit_str, "Bit:%d/4", input_index);

    if (strcmp(bit_str, last_bit_str) != 0) {
        LCD_ShowString(10, 140, tftlcd_data.width, tftlcd_data.height, 16, (u8*)"       ");
        LCD_ShowString(10, 140, tftlcd_data.width, tftlcd_data.height, 16, (u8*)bit_str);
        strcpy(last_bit_str, bit_str);
    }
}

/**
  * @brief  更新LCD温度显示
  * @param  x: 显示X坐标
  * @param  y: 显示Y坐标
  */
void update_lcd_temperature_display(uint16_t x, uint16_t y)
{
    char temp_str[30];

    if (dht11_data.temp_int == 0 && dht11_data.temp_dec == 0) {
        // 数据无效，显示"--"
        sprintf(temp_str, "Temp: --.- C");
    } else {
        // 数据有效，显示温度（保留一位小数）
        sprintf(temp_str, "Temp: %d.%d ℃",
                dht11_data.temp_int, dht11_data.temp_dec);
    }

    // 如果显示内容与上次不同，则更新显示
    if (strcmp(temp_str, last_temp_display) != 0) {
        // 先清空区域
        LCD_ShowString(x, y, 150, 20, 16, (u8*)"                ");
        // 显示新内容
        LCD_ShowString(x, y, 150, 20, 16, (u8*)temp_str);
        strcpy(last_temp_display, temp_str);
    }
}

/**
  * @brief  更新LCD湿度显示
  * @param  x: 显示X坐标
  * @param  y: 显示Y坐标
  */
void update_lcd_humidity_display(uint16_t x, uint16_t y)
{
    char humi_str[30];

    if (dht11_data.humi_int == 0 && dht11_data.humi_dec == 0) {
        // 数据无效，显示"--"
        sprintf(humi_str, "Humi: --.- %%");
    } else {
        // 数据有效，显示湿度（保留一位小数）
        sprintf(humi_str, "Humi: %d.%d %%",
                dht11_data.humi_int, dht11_data.humi_dec);
    }

    // 如果显示内容与上次不同，则更新显示
    if (strcmp(humi_str, last_humi_display) != 0) {
        // 先清空区域
        LCD_ShowString(x, y, 150, 20, 16, (u8*)"                ");
        // 显示新内容
        LCD_ShowString(x, y, 150, 20, 16, (u8*)humi_str);
        strcpy(last_humi_display, humi_str);
    }
}

/**
  * @brief  读取DHT11数据
  * @retval 1:成功 0:失败
  */
uint8_t read_dht11_data(void)
{
    uint8_t result = DHT11_ReadData(&dht11_data);

    if (result) {
        // 读取成功，输出调试信息
      printf("DHT11 Read Success: Temp=%d.%dC, Humi=%d.%d%%\r\n",
               dht11_data.temp_int, dht11_data.temp_dec,
               dht11_data.humi_int, dht11_data.humi_dec);
    } else {
        // 读取失败
        printf("DHT11 Read Failed!\r\n");
    }

    return result;
}

/**
  * @brief  设置灯光状态
  * @param  index: 灯光索引 (0-4)
  * @param  state: 0:关，1:开
  */
void set_light_state(uint8_t index, uint8_t state)
{
    if (index < LIGHT_COUNT) {
        light_states[index] = state;

        // 控制GPIO:state=1时引脚输出低电平GPIO_PIN_RESET，state=0时输出高电平GPIO_PIN_SET
        GPIO_PinState pin_state = state ? GPIO_PIN_RESET : GPIO_PIN_SET;
        HAL_GPIO_WritePin(GPIOA, light_pins[index], pin_state);

        // 更新显示
        update_light_status_display(index);

       printf("Light %s (%s) turned %s\r\n",
               light_names[index],
               index == 0 ? "PA7" :   // 对应厕所
               index == 1 ? "PA4" :   // 对应卧室
               index == 2 ? "PA5" :   // 对应厨房
                            "PA6",    // 对应书房
               state ? "ON" : "OFF");
    }
}

/**
  * @brief  切换当前选中灯光的状态
  */
void toggle_current_light(void)
{
    // 切换状态
    light_states[current_light_index] = !light_states[current_light_index];

    // 控制GPIO(低电平有效，所以开启时输出低电平，关闭时输出高电平)
    GPIO_PinState pin_state = light_states[current_light_index] ? GPIO_PIN_RESET : GPIO_PIN_SET;
    HAL_GPIO_WritePin(GPIOA, light_pins[current_light_index], pin_state);

    // 更新显示
    update_light_status_display(current_light_index);
    update_selected_light_display();

     printf("Toggled %s light to %s\r\n",
           light_names[current_light_index],
           light_states[current_light_index] ? "ON" : "OFF");
}

/**
  * @brief  选择下一个灯光（循环）
  */
void select_next_light(void)
{
    uint8_t old_index = current_light_index;

    if (current_light_index < (LIGHT_COUNT - 1)) {
        current_light_index++;
    } else {
        current_light_index = 0;  // 循环到第一个
    }

    // 更新显示
    update_arrow_indicator();//移动箭头指示器
    update_selected_light_display();//更新选中灯信息

    printf("Selected NEXT light: %s (from %s)\r\n",
           light_names[current_light_index],
           light_names[old_index]);
}

/**
  * @brief  选择上一个灯光（循环）
  */
void select_prev_light(void)
{
    uint8_t old_index = current_light_index;

    if (current_light_index > 0) {
        current_light_index--;
    } else {
        current_light_index = LIGHT_COUNT - 1;  // 循环到最后一个
    }

    // 更新显示
    update_arrow_indicator();
    update_selected_light_display();

    printf("Selected PREVIOUS light: %s (from %s)\r\n",
           light_names[current_light_index],
           light_names[old_index]);
}

/**
  * @brief  切换模式（通过PF1按键）
  */
void switch_mode(void)
{
    // 循环切换模式
    uint8_t next_mode = (uint8_t)current_mode;
    next_mode = (next_mode + 1) % 3;
    current_mode = (SystemMode)next_mode;

    // 根据新模式显示界面
    switch (current_mode) {
        case MODE_TEMP_HUMIDITY:
            show_temperature_humidity_mode();
            // 立即更新温湿度显示
            update_lcd_temperature_display(10, 80);
            update_lcd_humidity_display(10, 120);
            // 更新火焰传感器信息
            update_flame_info();
            // 更新加湿器信息
            update_humidifier_display();
            printf("Switched to Temperature/Humidity Mode\r\n");
            break;

        case MODE_PASSWORD:
            // 重置密码输入
            input_index = 0;
            memset(input_buffer, 0, sizeof(input_buffer));
            show_password_mode();
            printf("Switched to Password Mode\r\n");
            break;

        case MODE_LIGHT_CONTROL:
            show_light_control_mode();
            printf("Switched to Light Control Mode\r\n");
            break;
    }
}

/**
  * @brief  检测按键是否按下（带防抖）
  * @param  GPIOx: GPIO端口
  * @param  GPIO_Pin: GPIO引脚
  * @param  active_level: 有效电平（0:低电平有效，1:高电平有效）
  * @retval 1:按下，0:未按下
  */
uint8_t is_key_pressed(GPIO_TypeDef* GPIOx, uint16_t GPIO_Pin, uint8_t active_level)
{
    if (active_level == 0) {
        // 低电平有效
        return (HAL_GPIO_ReadPin(GPIOx, GPIO_Pin) == GPIO_PIN_RESET);
    } else {
        // 高电平有效
        return (HAL_GPIO_ReadPin(GPIOx, GPIO_Pin) == GPIO_PIN_SET);
    }
}

/* USER CODE END 0 */

int main(void)
{

  /* MCU Configuration--------------------------------------------------------*/

  /* Reset of all peripherals, Initializes the Flash interface and the Systick. */
  HAL_Init();

  /* Configure the system clock */
  SystemClock_Config();

  /* Initialize all configured peripherals */
  MX_GPIO_Init();
  MX_ADC3_Init();
  MX_FSMC_Init();
  MX_USART1_UART_Init();
  MX_TIM3_Init();
  MX_I2C1_Init();
  MX_RTC_Init();
  MX_TIM5_Init();
  MX_USART2_UART_Init();
  /* USER CODE BEGIN 2 */

	HAL_GPIO_WritePin(GPIOA,GPIO_PIN_8,GPIO_PIN_RESET );
	HAL_UART_Receive_IT(&huart2, (uint8_t *)&aRxBuffer, 1);
	esp8266_start_trans();

  // 启动ADC校准
  HAL_ADCEx_Calibration_Start(&hadc3);

  // 初始化：将所有灯光设置为关闭状态
  for (int i = 0; i < LIGHT_COUNT; i++) {
    set_light_state(i, 0);
  }

  // 初始化：默认选中第一个灯（厕所）
  current_light_index = 0;

  // 初始化湿度控制系统
  init_humidity_control();

  HAL_Delay(1000);

  // 设置LCD颜色
  BACK_COLOR = WHITE;
  FRONT_COLOR = BLACK;

  // 初始化LCD
  TFTLCD_Init();

  // 设置LCD颜色
  BACK_COLOR = WHITE;
  FRONT_COLOR = BLACK;

  // 初始显示：温湿度模式（模式0）
  show_temperature_humidity_mode();

  // 记录DHT11首次读取时间
  last_dht11_time = HAL_GetTick();

  // 首次读取DHT11数据
  if (read_dht11_data()) {
      // 读取成功，更新显示
      update_lcd_temperature_display(10, 80);
      update_lcd_humidity_display(10, 120);
      // 根据湿度控制加湿器
      control_humidifier_by_humidity();
  }

  // 初始化火焰报警引脚为低电平
  HAL_GPIO_WritePin(GPIOB, FLAME_ALARM_PIN, GPIO_PIN_RESET);

   printf("System Initialized\r\n");
  printf("PF1: Switch Mode, Current Mode: Temp/Humidity\r\n");
  printf("Flame Sensor: AO=PA1(ADC), DO=PB1\r\n");
  printf("Flame Alarm Pin: PB8 (shared with password alarm)\r\n");
  printf("Humidity Control: Auto control by humidity\r\n");
  printf("Light Control: Default selection = Toilet (PA2)\r\n");
  printf("Key Mapping:\r\n");
  printf("  - PF1: Mode switch\r\n");
  printf("  - PA0(KEY_UP): Password mode input 1\r\n");
  printf("  - PE2(KEY_0): Light control select prev, Password mode input 0\r\n");
  printf("  - PE3(KEY_INC): Light control select next\r\n");
  printf("  - PE4(KEY_DEC): Light control toggle switch\r\n");

  /* USER CODE END 2 */

  /* Infinite loop */
  /* USER CODE BEGIN WHILE */
  while (1)
  {
    // 系统就绪标志（启动后2秒）
    if (HAL_GetTick() > 2000) {
        system_ready = 1;
    }

    uint32_t current_time_ms = HAL_GetTick();

		//WIFI----------------------------
		if(receive_flag)
	{
		receive_flag=0;
		if(strstr((const char*)my_order,(const char*)"<on>")) //输入on，LED0亮
		{
			Uart2_Rx_Cnt=0;
			memset(RxBuffer,0x00,sizeof(RxBuffer)); //清空数组
			memset(RxBuffer,0x00,sizeof(my_order)); //清空数组
			my_test_v=1;
		}
		else if(strstr((const char*)my_order,(const char*)"<off>"))
		{
					Uart2_Rx_Cnt=0;
			memset(RxBuffer,0x00,sizeof(RxBuffer)); //清空数组
			memset(RxBuffer,0x00,sizeof(my_order)); //清空数组
		  my_test_v=0;
		}
		else
			{
			Uart2_Rx_Cnt=0;
			memset(RxBuffer,0x00,sizeof(RxBuffer)); //清空数组
			memset(RxBuffer,0x00,sizeof(my_order)); //清空数组

		}

 	}
		if(my_test_v==1)
			HAL_GPIO_WritePin(GPIOA,GPIO_PIN_8,GPIO_PIN_RESET );
		else
	  	HAL_GPIO_WritePin(GPIOA,GPIO_PIN_8,GPIO_PIN_SET );
		//----------------------------------

    // ==============================
    // === 1. 火焰传感器检测 ===
    // ==============================
    check_flame_sensor();

    // ==============================
    // === 2. DHT11数据读取 ===
    // ==============================
    if (current_time_ms - last_dht11_time >= DHT11_UPDATE_INTERVAL)
    {
        last_dht11_time = current_time_ms;

        if (read_dht11_data()) {
            // 读取成功，更新LCD显示（仅温湿度模式）
            if (current_mode == MODE_TEMP_HUMIDITY) {
                update_lcd_temperature_display(10, 80);
                update_lcd_humidity_display(10, 120);
            }
        }
    }

    // ==============================
    // === 3. 湿度控制 ===
    // ==============================
    control_humidifier_by_humidity();

    // ==============================
    // === 4. 步进电机控制 ===
    // ==============================
    run_stepper_motor_by_humidity();

    // ==============================
    // === 5. PF1按键检测（模式切换） ===
    // ==============================
    // PF1: 模式切换（低电平有效）
    if (HAL_GPIO_ReadPin(GPIOF, KEY_MODE_PIN) == GPIO_PIN_RESET) {
        if (current_time_ms - pf1_last_time > 500) { // 500ms防抖
            pf1_last_time = current_time_ms;
            switch_mode();
            printf("PF1 Pressed - Mode Changed\r\n");
        }
    }

    // ==============================
    // === 6. 模式相关处理 ===
    // ==============================
    switch (current_mode) {
        case MODE_TEMP_HUMIDITY:
            // 温湿度模式无特殊按键处理
            break;

        case MODE_PASSWORD:
            // 密码模式处理

            // KEY_UP (PA0): 输入1 - 高电平有效
            if (HAL_GPIO_ReadPin(GPIOA, KEY_UP_PIN) == GPIO_PIN_SET) {
                if (current_time_ms - key_up_last_time > 300) { // 300ms防抖
                    key_up_last_time = current_time_ms;
                    if (input_index < PASSWORD_LEN) {
                        input_buffer[input_index] = 1;
                        input_index++;
                        update_password_display();
                        printf("KEY_UP Pressed - Input 1\r\n");
                    }
                }
            }

            // KEY_0 (PE2): 输入0/取消 - 低电平有效
            if (HAL_GPIO_ReadPin(GPIOE, KEY_CANCEL_PIN) == GPIO_PIN_RESET) {
                // 记录按下开始时间
                if (key_cancel_press_start == 0) {
                    key_cancel_press_start = current_time_ms;
                    key_cancel_long_press_handled = 0;
                }

                // 长按检测（1秒）
                if (!key_cancel_long_press_handled && (current_time_ms - key_cancel_press_start > 1000)) {
                    // 长按：清除输入
                    input_index = 0;
                    memset(input_buffer, 0, sizeof(input_buffer));
                    update_password_display();
                    LCD_ShowString(10, 250, tftlcd_data.width, tftlcd_data.height, 16, (u8*)"Input Cleared");
                    HAL_Delay(500);
                    LCD_ShowString(10, 250, tftlcd_data.width, tftlcd_data.height, 16, (u8*)"              ");
                    key_cancel_long_press_handled = 1;
                    printf("KEY_0 Long Press - Input Cleared\r\n");
                }
            } else {
                // 按键释放
                if (key_cancel_press_start > 0) {
                    // 短按：输入0
                    if (!key_cancel_long_press_handled && input_index < PASSWORD_LEN) {
                        input_buffer[input_index] = 0;
                        input_index++;
                        update_password_display();
                       printf("KEY_0 Short Press - Input 0\r\n");
                    }
                    key_cancel_press_start = 0;
                    key_cancel_long_press_handled = 0;
                }
            }

            // 密码验证（当输入满4位时）
            if (input_index >= PASSWORD_LEN) {
                uint8_t value = 0;
                for (int i = 0; i < PASSWORD_LEN; i++) {
                    value = (value << 1) | input_buffer[i];
                }

                if (value == CORRECT_PASSWORD) {
                    // 密码正确
                    error_count = 0;
                    alarm_active = 0;
                    // 关闭PB8报警（注意检查火焰报警状态）
                    if (!flame_detected) {
                        HAL_GPIO_WritePin(GPIOB, FLAME_ALARM_PIN, GPIO_PIN_RESET);
                    }
                    LCD_ShowString(10, 250, tftlcd_data.width, tftlcd_data.height, 16, (u8*)"Access Granted!");
                    HAL_Delay(1000);
                    current_mode = MODE_TEMP_HUMIDITY;
                    show_temperature_humidity_mode();
                    update_lcd_temperature_display(10, 80);
                    update_lcd_humidity_display(10, 120);
                    update_flame_info();
                    update_humidifier_display();
                    printf("Password Correct - Access Granted\r\n");
                } else {
                    // 密码错误
                    error_count++;
                    char error_msg[30];
                    sprintf(error_msg,  "Wrong! Try %d/3", 3 - error_count);
                    LCD_ShowString(10, 250, tftlcd_data.width, tftlcd_data.height, 16, (u8*)error_msg);

                    if (error_count >= 3) {
                        // 错误3次，触发报警
                        alarm_active = 1;
                        alarm_start_time = current_time_ms;
                        // 开启PB8报警
                        HAL_GPIO_WritePin(GPIOB, FLAME_ALARM_PIN, GPIO_PIN_SET);
                        LCD_ShowString(10, 270, tftlcd_data.width, tftlcd_data.height, 16, (u8*)"ALARM ACTIVATED!");
                        HAL_Delay(2000);
                        error_count = 0;
                        current_mode = MODE_TEMP_HUMIDITY;
                        show_temperature_humidity_mode();
                        update_lcd_temperature_display(10, 80);
                        update_lcd_humidity_display(10, 120);
                        update_flame_info();
                        update_humidifier_display();
                       printf("3 Wrong Attempts - Alarm Activated\r\n");
                    } else {
                        HAL_Delay(1000);
                        input_index = 0;
                        memset(input_buffer, 0, sizeof(input_buffer));
                        update_password_display();
                        LCD_ShowString(10, 250, tftlcd_data.width, tftlcd_data.height, 16, (u8*)"              ");
                        LCD_ShowString(10, 270, tftlcd_data.width, tftlcd_data.height, 16, (u8*)"              ");
                    }
                }
            }
            break;

        case MODE_LIGHT_CONTROL:
            // 灯光控制模式处理

            // KEY_0 (PE2): 选择上一个灯光（前一个）- 低电平有效
            if (HAL_GPIO_ReadPin(GPIOE, KEY_PREV_PIN) == GPIO_PIN_RESET) {
                if (current_time_ms - key_prev_last_time > 300) { // 300ms防抖
                    key_prev_last_time = current_time_ms;
                    select_prev_light();
                    printf("KEY_0(PE2) Pressed - Select Previous Light\r\n");
                }
            }

            // KEY_INC (PE3): 选择下一个灯光（后一个）- 低电平有效
            if (HAL_GPIO_ReadPin(GPIOE, KEY_NEXT_PIN) == GPIO_PIN_RESET) {
                if (current_time_ms - key_next_last_time > 300) { // 300ms防抖
                    key_next_last_time = current_time_ms;
                    select_next_light();
                    printf("KEY_INC(PE3) Pressed - Select Next Light\r\n");
                }
            }

            // KEY_DEC (PE4): 切换当前灯光开关 - 低电平有效
            if (HAL_GPIO_ReadPin(GPIOE, KEY_TOGGLE_PIN) == GPIO_PIN_RESET) {
                if (current_time_ms - key_toggle_last_time > 300) { // 300ms防抖
                    key_toggle_last_time = current_time_ms;
                    toggle_current_light();
                     printf("KEY_DEC(PE4) Pressed - Toggle Light\r\n");
                }
            }
            break;
    }

    // ==============================
    // === 7. 报警处理（2秒后自动关闭，但火焰报警需要手动检查） ===
    // ==============================
    if (alarm_active && (current_time_ms - alarm_start_time >= ALARM_DURATION)) {
        // 关闭PB8报警，注意检查火焰报警状态
        if (!flame_detected) {
            HAL_GPIO_WritePin(GPIOB, FLAME_ALARM_PIN, GPIO_PIN_RESET);
        }
        alarm_active = 0;
    }

    // 火焰传感器报警处理（火焰消失时自动关闭报警）
    if (flame_detected) {
        // 持续读取火焰传感器状态
        uint8_t flame_state = HAL_GPIO_ReadPin(FLAME_SENSOR_PORT, FLAME_SENSOR_PIN);
        if (flame_state == GPIO_PIN_RESET) { // 低电平 = 火焰消失
            flame_detected = 0;
            stop_flame_alarm();  // 火焰消失，停止报警
            update_flame_info(); // 更新显示
        }
    }

    // 主循环延时，降低CPU使用率
    HAL_Delay(10);
  }
    /* USER CODE END WHILE */

}

void SystemClock_Config(void)
{
  RCC_OscInitTypeDef RCC_OscInitStruct = {0};
  RCC_ClkInitTypeDef RCC_ClkInitStruct = {0};
  RCC_PeriphCLKInitTypeDef PeriphClkInit = {0};

  /** Initializes the CPU, AHB and APB busses clocks
  */
  RCC_OscInitStruct.OscillatorType = RCC_OSCILLATORTYPE_HSE|RCC_OSCILLATORTYPE_LSE;
  RCC_OscInitStruct.HSEState = RCC_HSE_ON;
  RCC_OscInitStruct.HSEPredivValue = RCC_HSE_PREDIV_DIV1;
  RCC_OscInitStruct.LSEState = RCC_LSE_ON;
  RCC_OscInitStruct.HSIState = RCC_HSI_ON;
  RCC_OscInitStruct.PLL.PLLState = RCC_PLL_ON;
  RCC_OscInitStruct.PLL.PLLSource = RCC_PLLSOURCE_HSE;
  RCC_OscInitStruct.PLL.PLLMUL = RCC_PLL_MUL9;
  if (HAL_RCC_OscConfig(&RCC_OscInitStruct) != HAL_OK)
  {
    Error_Handler();
  }
  /** Initializes the CPU, AHB and APB busses clocks
  */
  RCC_ClkInitStruct.ClockType = RCC_CLOCKTYPE_HCLK|RCC_CLOCKTYPE_SYSCLK
                              |RCC_CLOCKTYPE_PCLK1|RCC_CLOCKTYPE_PCLK2;
  RCC_ClkInitStruct.SYSCLKSource = RCC_SYSCLKSOURCE_PLLCLK;
  RCC_ClkInitStruct.AHBCLKDivider = RCC_SYSCLK_DIV1;
  RCC_ClkInitStruct.APB1CLKDivider = RCC_HCLK_DIV2;
  RCC_ClkInitStruct.APB2CLKDivider = RCC_HCLK_DIV1;

  if (HAL_RCC_ClockConfig(&RCC_ClkInitStruct, FLASH_LATENCY_2) != HAL_OK)
  {
    Error_Handler();
  }
  PeriphClkInit.PeriphClockSelection = RCC_PERIPHCLK_RTC|RCC_PERIPHCLK_ADC;
  PeriphClkInit.RTCClockSelection = RCC_RTCCLKSOURCE_LSE;
  PeriphClkInit.AdcClockSelection = RCC_ADCPCLK2_DIV6;
  if (HAL_RCCEx_PeriphCLKConfig(&PeriphClkInit) != HAL_OK)
  {
    Error_Handler();
  }
}

/* USER CODE BEGIN 4 */
void HAL_UART_RxCpltCallback(UART_HandleTypeDef *huart)
{
  /* Prevent unused argument(s) compilation warning */
  UNUSED(huart);
  /* NOTE: This function Should not be modified, when the callback is needed,
           the HAL_UART_TxCpltCallback could be implemented in the user file
   */

	if(Uart2_Rx_Cnt >= 255)  //溢出判断
	{
		Uart2_Rx_Cnt = 0;
		memset(RxBuffer,0x00,sizeof(RxBuffer));
	}
	else
	{
		static uint8_t Uart2_count=0;

		RxBuffer[Uart2_Rx_Cnt] = aRxBuffer;   //接收数据转存
		if(receive_flag==0)
		{
		if(RxBuffer[Uart2_Rx_Cnt-Uart2_count]=='<')
		{
			Uart2_count++;
		if((RxBuffer[Uart2_Rx_Cnt]=='>')||Uart2_count>=14)
		{
			uint8_t My_i=0;
		for(int i=Uart2_Rx_Cnt-Uart2_count+1;i<Uart2_Rx_Cnt+1;i++)
			my_order[My_i++]=RxBuffer[i];
			receive_flag=1;
			Uart2_count=0;
		}
	}
	}
		Uart2_Rx_Cnt++;
	}

	HAL_UART_Receive_IT(&huart2, (uint8_t *)&aRxBuffer, 1);   //再开启接收中断
}
/* USER CODE END 4 */

void Error_Handler(void)
{
  /* USER CODE BEGIN Error_Handler_Debug */
  /* 用户可以添加自己的错误处理实现 */
 __disable_irq();
  while (1)
  {
  }
  /* USER CODE END Error_Handler_Debug */
}

#ifdef  USE_FULL_ASSERT
/**
  * @brief  Reports the name of the source file and the source line number
  *         where the assert_param error has occurred.
  * @param  file: pointer to the source file name
  * @param  line: assert_param error line source number
  * @retval None
  */
void assert_failed(uint8_t *file, uint32_t line)
{
  /* USER CODE BEGIN 6 */
  /* 用户可以添加自己的实现来报告文件名和行号 */
  /* USER CODE END 6 */
}
#endif /* USE_FULL_ASSERT */

/************************ (C) COPYRIGHT STMicroelectronics *****END OF FILE****/
